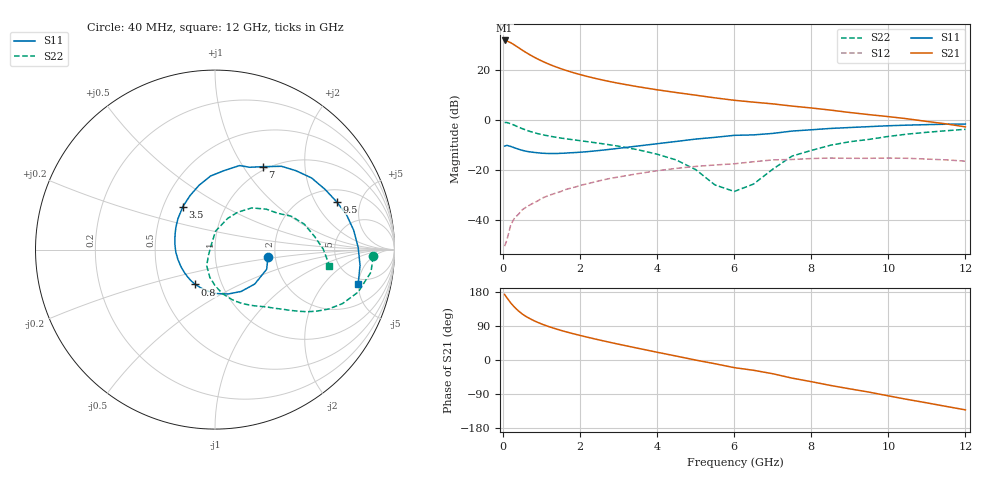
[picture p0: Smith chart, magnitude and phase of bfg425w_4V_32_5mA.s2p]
! Filename: 432bfg425.001
! BFG425W Field C1
! V1=8.380E-001V,V2=4.000E+000V, I1=4.223E-004A, I2=3.246E-002A
# GHz  S  MA  R 50
!  S11  S21  S12  S22
!Freq(GHz)  Mag  Ang  Mag  Ang  Mag  Ang  Mag  Ang
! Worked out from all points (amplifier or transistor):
!   44 points, 40 MHz to 12 GHz, reference 50 ohm
!   highest |S21| = 31.6 dB at 40 MHz (marker M1)
!   |S21| within 3 dB of that: start of sweep to 412.7 MHz
!   unconditionally stable (mu >= 1): start of sweep to 61.15 MHz; 1.05 GHz to end of sweep
!   at 700 MHz: K = 0.89, MSG = 29.9 dB, |S12| = -34.0 dB
!   at 2.4 GHz: K = 1.18, MAG = 18.0 dB, |S12| = -24.7 dB
!   at 12 GHz: K = 1.36, MAG = 3.3 dB, |S12| = -16.5 dB
!   S11 on the Smith chart (normalised r, x): 40 MHz: 1.83, -0.18; 800 MHz: 0.75, -0.31; 3.5 GHz: 0.63, +0.33; 7 GHz: 0.95, +1.23; 9.5 GHz: 2.68, +3.04; 12 GHz: 4.24, -4.93
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0.04  0.298 -8.4  38.15 173.0  0.003 41.9  0.882 -2.5
0.1  0.308 -20.8  37.18 164.2  0.004 66.8  0.878 -8.2
0.2  0.293 -40.9  34.37 150.3  0.008 68.0  0.832 -16.5
0.3  0.275 -58.0  30.8 139.1  0.011 67.3  0.772 -22.9
0.4  0.258 -73.5  27.41 129.5  0.013 65.9  0.714 -27.6
0.5  0.245 -87.8  24.39 121.2  0.016 64.4  0.663 -31.2
0.6  0.235 -99.6  21.81 114.6  0.018 63.5  0.62 -33.9
0.7  0.228 -109.8  19.65 109.0  0.02 62.6  0.584 -36.1
0.8  0.223 -119.6  17.82 103.8  0.022 62.0  0.554 -37.9
1  0.215 -135.7  14.91 95.1  0.027 61.0  0.507 -41.1
1.3  0.212 -154.6  11.88 84.4  0.033 59.4  0.457 -45.3
1.7  0.218 -174.8  9.288 72.6  0.042 56.5  0.41 -50.7
2.2  0.231 165.4  7.254 59.9  0.053 51.6  0.364 -58.1
2.8  0.258 145.8  5.712 46.1  0.068 44.7  0.313 -67.5
3.5  0.299 126.8  4.551 31.0  0.084 35.4  0.252 -79.7
4.5  0.369 104.0  3.483 10.2  0.107 20.6  0.157 -100.6
6.5  0.498 67.1  2.243 -27.1  0.145 -7.2  0.052 104.8
7  0.533 60.1  2.073 -36.2  0.158 -14.9  0.103 88.3
8.5  0.67 36.6  1.556 -67.2  0.172 -44.0  0.31 48.5
9.5  0.728 21.5  1.263 -84.8  0.17 -60.6  0.405 29.9
10.5  0.78 8.0  1.042 -104.2  0.17 -79.2  0.517 16.0
12  0.82 -13.4  0.72 -131.6  0.149 -109.0  0.644 -7.9
